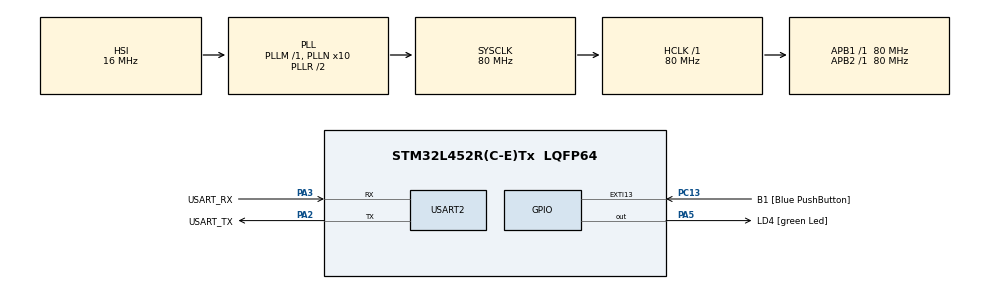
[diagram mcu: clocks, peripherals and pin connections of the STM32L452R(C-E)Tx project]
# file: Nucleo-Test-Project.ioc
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Mcu.Family=STM32L4
Mcu.Name=STM32L452R(C-E)Tx
Mcu.Package=LQFP64
NVIC.PriorityGroup=NVIC_PRIORITYGROUP_4
PA13\ (JTMS/SWDIO).GPIO_Label=TMS
PA13\ (JTMS/SWDIO).Mode=Serial_Wire
PA13\ (JTMS/SWDIO).Signal=SYS_JTMS-SWDIO
PA14\ (JTCK/SWCLK).GPIO_Label=TCK
PA14\ (JTCK/SWCLK).Mode=Serial_Wire
PA14\ (JTCK/SWCLK).Signal=SYS_JTCK-SWCLK
PA2.GPIO_Label=USART_TX
PA2.GPIO_Mode=GPIO_MODE_AF_PP
PA2.GPIO_PuPd=GPIO_NOPULL
PA2.GPIO_Speed=GPIO_SPEED_FREQ_VERY_HIGH
PA2.Mode=Asynchronous
PA2.Signal=USART2_TX
PA3.GPIO_Label=USART_RX
PA3.GPIO_Mode=GPIO_MODE_AF_PP
PA3.GPIO_PuPd=GPIO_NOPULL
PA3.GPIO_Speed=GPIO_SPEED_FREQ_VERY_HIGH
PA3.Mode=Asynchronous
PA3.Signal=USART2_RX
PA5.GPIO_Label=LD4 [green Led]
PA5.GPIO_ModeDefaultOutputPP=GPIO_MODE_OUTPUT_PP
PA5.GPIO_PuPd=GPIO_NOPULL
PA5.GPIO_Speed=GPIO_SPEED_FREQ_LOW
PA5.Signal=GPIO_Output
PB3\ (JTDO/TRACESWO).GPIO_Label=SWO
PB3\ (JTDO/TRACESWO).Signal=SYS_JTDO-SWO
PC13.GPIO_Label=B1 [Blue PushButton]
PC13.GPIO_ModeDefaultEXTI=GPIO_MODE_IT_FALLING
PC13.GPIO_PuPd=GPIO_NOPULL
PC13.Signal=GPXTI13
PC14-OSC32_IN\ (PC14).Mode=LSE-External-Oscillator
PC14-OSC32_IN\ (PC14).Signal=RCC_OSC32_IN
PC15-OSC32_OUT\ (PC15).Mode=LSE-External-Oscillator
PC15-OSC32_OUT\ (PC15).Signal=RCC_OSC32_OUT
PH0-OSC_IN\ (PH0).Signal=RCC_OSC_IN
PH1-OSC_OUT\ (PH1).Signal=RCC_OSC_OUT
ProjectManager.HeapSize=0x200
ProjectManager.StackSize=0x400
ProjectManager.TargetToolchain=STM32CubeIDE
RCC.ADCFreq_Value=64000000
RCC.AHBFreq_Value=80000000
RCC.APB1Freq_Value=80000000
RCC.APB1TimFreq_Value=80000000
RCC.APB2Freq_Value=80000000
RCC.APB2TimFreq_Value=80000000
RCC.CortexFreq_Value=80000000
RCC.HCLKFreq_Value=80000000
RCC.HSE_VALUE=8000000
RCC.HSI48_VALUE=48000000
RCC.HSI_VALUE=16000000
RCC.MSI_VALUE=4000000
RCC.PLLN=10
RCC.PLLSourceVirtual=RCC_PLLSOURCE_HSI
RCC.PREFETCH_ENABLE=1
RCC.SYSCLKFreq_VALUE=80000000
RCC.SYSCLKSource=RCC_SYSCLKSOURCE_PLLCLK
RCC.USBFreq_Value=64000000
RCC.VCOOutputFreq_Value=160000000
USART2.VirtualMode-Asynchronous=VM_ASYNC
board=NUCLEO-L452RE

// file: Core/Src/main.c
/* USER CODE BEGIN Header */
/**
  ******************************************************************************
  * @file           : main.c
  * @brief          : Main program body
  ******************************************************************************
  * @attention
  *
  * Copyright (c) 2023 STMicroelectronics.
  * All rights reserved.
  *
  * This software is licensed under terms that can be found in the LICENSE file
  * in the root directory of this software component.
  * If no LICENSE file comes with this software, it is provided AS-IS.
  *
  ******************************************************************************
  */
/* USER CODE END Header */
#include "main.h"

/* USER CODE BEGIN PD */

#define FLASH_MY_PAGE 128
#define FLASH_MY_PAGE_ADDR (FLASH_MY_PAGE * 2048)

/* USER CODE END PD */

UART_HandleTypeDef huart2;

void SystemClock_Config(void);
static void MX_GPIO_Init(void);
static void MX_USART2_UART_Init(void);

int main(void)
{

  /* MCU Configuration--------------------------------------------------------*/

  /* Reset of all peripherals, Initializes the Flash interface and the Systick. */
  HAL_Init();

  /* Configure the system clock */
  SystemClock_Config();

  /* Initialize all configured peripherals */
  MX_GPIO_Init();
  MX_USART2_UART_Init();
  /* USER CODE BEGIN 2 */

  /*
   * ===========================
   * HOW TO USE
   * GO TO WINDOW -> SHOW VIEW -> MEMORY BROWSER
   * THEN ENTER ADDRESS 0x08040000
   * THEN STEP THROUGH THE BREAKPOINTS AS NORMAL
   * ===========================
   */

  // just a test struct
  typedef struct dataStruct {
		  uint32_t preamble;
		  uint8_t testData1[16];
		  uint8_t testData2[16];
		  uint8_t testData3[16];
		  uint32_t age;
  } Flash_Data_Struct;

  Flash_Data_Struct transmitDataStruct = {
		  .preamble = 0xDEADBEEF,
		  .testData1 = {0, 1, 2, 3, 4, 5, 6, 7, 8, 9, 10, 11, 12, 13, 14, 15},
		  .testData2 = {0, 1, 2, 3, 4, 5, 6, 7, 8, 9, 10, 11, 12, 13, 14, 15},
		  .testData3 = {0, 1, 2, 3, 4, 5, 6, 7, 8, 9, 10, 11, 12, 13, 14, 15},
		  .age = 0xAC
  };

  HAL_FLASH_Unlock();

  Flash_Data_Struct* myDataStructAddr = &transmitDataStruct;
  uint64_t* currentData;

  // write 8 bytes (1 double-word) at a time until we exceed the size of the struct
  for (int i = 0; i < sizeof(transmitDataStruct); i += 8) {
	  currentData = (uint64_t*)((uint8_t*)myDataStructAddr + i);	// mamma mia
	  HAL_FLASH_Program(FLASH_TYPEPROGRAM_DOUBLEWORD, FLASH_MY_PAGE_ADDR + i, *currentData);
  }

  HAL_FLASH_Lock();

  // Now to read it back in.

  Flash_Data_Struct receiveDataStruct = *(Flash_Data_Struct*)FLASH_MY_PAGE_ADDR;

  // Now to erase everything.

  HAL_FLASH_Unlock();

  // struct containing the flash erase settings - required
  FLASH_EraseInitTypeDef erase_settings = {
	  .TypeErase = FLASH_TYPEERASE_PAGES,
	  .Banks = FLASH_BANK_1, 		// stm32l45x only has 1 flash bank
	  .Page = FLASH_MY_PAGE,
	  .NbPages = 1
  };

  uint32_t pageErrorCode;

  HAL_FLASHEx_Erase(&erase_settings, &pageErrorCode);

  HAL_FLASH_Lock();

  /* USER CODE END 2 */

  /* Infinite loop */
  while (1)
  {

  }
}

void SystemClock_Config(void)
{
  RCC_OscInitTypeDef RCC_OscInitStruct = {0};
  RCC_ClkInitTypeDef RCC_ClkInitStruct = {0};

  /** Configure the main internal regulator output voltage
  */
  if (HAL_PWREx_ControlVoltageScaling(PWR_REGULATOR_VOLTAGE_SCALE1) != HAL_OK)
  {
    Error_Handler();
  }

  /** Initializes the RCC Oscillators according to the specified parameters
  * in the RCC_OscInitTypeDef structure.
  */
  RCC_OscInitStruct.OscillatorType = RCC_OSCILLATORTYPE_HSI;
  RCC_OscInitStruct.HSIState = RCC_HSI_ON;
  RCC_OscInitStruct.HSICalibrationValue = RCC_HSICALIBRATION_DEFAULT;
  RCC_OscInitStruct.PLL.PLLState = RCC_PLL_ON;
  RCC_OscInitStruct.PLL.PLLSource = RCC_PLLSOURCE_HSI;
  RCC_OscInitStruct.PLL.PLLM = 1;
  RCC_OscInitStruct.PLL.PLLN = 10;
  RCC_OscInitStruct.PLL.PLLP = RCC_PLLP_DIV7;
  RCC_OscInitStruct.PLL.PLLQ = RCC_PLLQ_DIV2;
  RCC_OscInitStruct.PLL.PLLR = RCC_PLLR_DIV2;
  if (HAL_RCC_OscConfig(&RCC_OscInitStruct) != HAL_OK)
  {
    Error_Handler();
  }

  /** Initializes the CPU, AHB and APB buses clocks
  */
  RCC_ClkInitStruct.ClockType = RCC_CLOCKTYPE_HCLK|RCC_CLOCKTYPE_SYSCLK
                              |RCC_CLOCKTYPE_PCLK1|RCC_CLOCKTYPE_PCLK2;
  RCC_ClkInitStruct.SYSCLKSource = RCC_SYSCLKSOURCE_PLLCLK;
  RCC_ClkInitStruct.AHBCLKDivider = RCC_SYSCLK_DIV1;
  RCC_ClkInitStruct.APB1CLKDivider = RCC_HCLK_DIV1;
  RCC_ClkInitStruct.APB2CLKDivider = RCC_HCLK_DIV1;

  if (HAL_RCC_ClockConfig(&RCC_ClkInitStruct, FLASH_LATENCY_4) != HAL_OK)
  {
    Error_Handler();
  }
}

static void MX_USART2_UART_Init(void)
{

  huart2.Instance = USART2;
  huart2.Init.BaudRate = 115200;
  huart2.Init.WordLength = UART_WORDLENGTH_8B;
  huart2.Init.StopBits = UART_STOPBITS_1;
  huart2.Init.Parity = UART_PARITY_NONE;
  huart2.Init.Mode = UART_MODE_TX_RX;
  huart2.Init.HwFlowCtl = UART_HWCONTROL_NONE;
  huart2.Init.OverSampling = UART_OVERSAMPLING_16;
  huart2.Init.OneBitSampling = UART_ONE_BIT_SAMPLE_DISABLE;
  huart2.AdvancedInit.AdvFeatureInit = UART_ADVFEATURE_NO_INIT;
  if (HAL_UART_Init(&huart2) != HAL_OK)
  {
    Error_Handler();
  }

}

static void MX_GPIO_Init(void)
{
  GPIO_InitTypeDef GPIO_InitStruct = {0};

  /* GPIO Ports Clock Enable */
  __HAL_RCC_GPIOC_CLK_ENABLE();
  __HAL_RCC_GPIOH_CLK_ENABLE();
  __HAL_RCC_GPIOA_CLK_ENABLE();
  __HAL_RCC_GPIOB_CLK_ENABLE();

  /*Configure GPIO pin Output Level */
  HAL_GPIO_WritePin(LD4_GPIO_Port, LD4_Pin, GPIO_PIN_RESET);

  /*Configure GPIO pin : B1_Pin */
  GPIO_InitStruct.Pin = B1_Pin;
  GPIO_InitStruct.Mode = GPIO_MODE_IT_FALLING;
  GPIO_InitStruct.Pull = GPIO_NOPULL;
  HAL_GPIO_Init(B1_GPIO_Port, &GPIO_InitStruct);

  /*Configure GPIO pin : LD4_Pin */
  GPIO_InitStruct.Pin = LD4_Pin;
  GPIO_InitStruct.Mode = GPIO_MODE_OUTPUT_PP;
  GPIO_InitStruct.Pull = GPIO_NOPULL;
  GPIO_InitStruct.Speed = GPIO_SPEED_FREQ_LOW;
  HAL_GPIO_Init(LD4_GPIO_Port, &GPIO_InitStruct);

}

void Error_Handler(void)
{
  __disable_irq();
  while (1)
  {
  }
}
